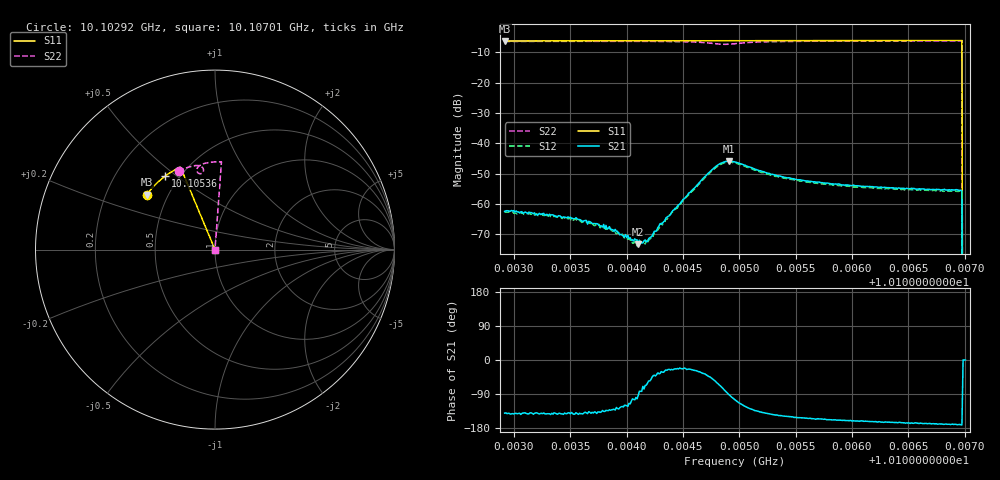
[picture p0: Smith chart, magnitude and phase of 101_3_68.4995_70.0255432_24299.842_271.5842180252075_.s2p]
#  HZ  S  RI  R  50.00
! Rohde & Schwarz Vector Network Analyzer
! Rohde-Schwarz,ZNB20-2Port,1311601062101988,3.16
! Created: UTC 3/20/2024, 4:53:04 PM
! freq[Hz]  re:S11  im:S11  re:S21  im:S21  re:S12  im:S12  re:S22  im:S22
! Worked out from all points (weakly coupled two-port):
!   401 points, 10.10292 GHz to 10.10701 GHz, reference 50 ohm
!   highest |S21| = -45.83 dB at 10.10491 GHz (marker M1); lowest = -73.1 dB at 10.1041 GHz (marker M2)
!   lowest |S11| = -6.2 dB at 10.10292 GHz (marker M3), VSWR 2.91, Z = 19 + j15.3 ohm
!   |S11| at or under -10 dB: 10.10698 GHz to end of sweep
!   |S22| runs from - to -6.2 dB; largest |S21 - S12| = 0.00053
!   S11 on the Smith chart (normalised r, x): 10.10292 GHz: 0.38, +0.31; 10.10536 GHz: 0.42, +0.46; 10.10701 GHz: 1.00, +0.00
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1.0102917e10  -0.3807 0.3055  -0.000583 -0.000487  -0.000541 -0.000505  -0.2029 0.4356
1.0103265e10  -0.3678 0.3224  -0.000538 -0.000452  -0.000459 -0.000456  -0.182 0.4455
1.0103602e10  -0.3548 0.3382  -0.000415 -0.000328  -0.000346 -0.000359  -0.1606 0.4545
1.0103847e10  -0.3447 0.3493  -0.00028 -0.000319  -0.000241 -0.000295  -0.1442 0.4604
1.0103899e10  -0.3427 0.3516  -0.000258 -0.000284  -0.00019 -0.000282  -0.1407 0.4615
1.010395e10  -0.3405 0.3539  -0.000175 -0.000264  -0.000156 -0.000282  -0.137 0.4626
1.0104072e10  -0.3353 0.3593  -7.01e-05 -0.000258  -3.32e-05 -0.000251  -0.1279 0.4649
1.0104103e10  -0.334 0.3606  -1.44e-05 -0.00022  1.23e-05 -0.000219  -0.1256 0.4654
1.0104123e10  -0.3332 0.3614  2.85e-05 -0.000226  3.86e-05 -0.000239  -0.124 0.4657
1.0104164e10  -0.3315 0.3633  9.99e-05 -0.000236  0.000106 -0.000193  -0.1208 0.4664
1.0104195e10  -0.3301 0.3645  0.000152 -0.000221  0.000129 -0.000219  -0.1184 0.4669
1.0104287e10  -0.3261 0.3685  0.00035 -0.000259  0.000346 -0.00021  -0.1106 0.4679
1.0104389e10  -0.3215 0.3727  0.000606 -0.000296  0.000637 -0.000235  -0.1011 0.4685
1.0104757e10  -0.3048 0.3875  0.00243 -0.00277  0.00253 -0.00247  -0.0636 0.4423
1.0104839e10  -0.301 0.3906  0.00159 -0.00446  0.0019 -0.00415  -0.0715 0.4262
1.0104911e10  -0.2978 0.3932  -0.000178 -0.00511  0.000279 -0.00487  -0.0881 0.4238
1.0104962e10  -0.2955 0.3952  -0.00129 -0.00478  -0.00087 -0.00471  -0.0972 0.4302
1.0105361e10  -0.2766 0.4102  -0.00243 -0.00159  -0.00215 -0.0017  -0.0777 0.4728
1.0105647e10  -0.2623 0.4204  -0.00212 -0.001  -0.00193 -0.00112  -0.0551 0.481
1.0106332e10  -0.2273 0.4422  -0.00179 -0.000514  -0.00168 -0.000678  -0.00685 0.488
1.0106955e10  -0.1936 0.4594  -0.00166 -0.000291  -0.00159 -0.000427  0.0347 0.4889
1.0107006e10  0 0  0 0  0 0  0 0
